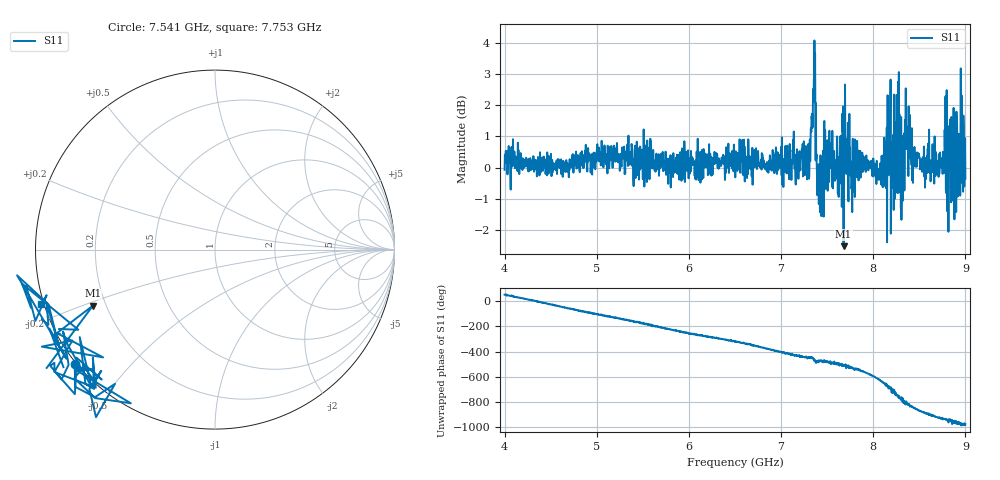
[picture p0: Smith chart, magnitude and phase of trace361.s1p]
! Created with skrf 1.8.0 (http://scikit-rf.org).
# Hz S RI R 50.0
!freq ReS11 ImS11
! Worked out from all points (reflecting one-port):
!   1601 points, 4 GHz to 9 GHz, reference 50 ohm
!   lowest |S11| = -2.5 dB at 7.678 GHz (marker M1), VSWR 6.95, Z = 7.53 - j10.7 ohm
!   phase of S11 starts at 52 deg and turns -1028 deg over the sweep
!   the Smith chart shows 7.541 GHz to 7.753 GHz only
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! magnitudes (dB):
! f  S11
! 4 GHz  -0.1
! 4.625 GHz  -0.2
! 5.25 GHz  -0.1
! 5.875 GHz  0.1
! 6.5 GHz  0.2
! 7.125 GHz  0.6
! 7.294 GHz  0.1
! 7.347 GHz  2.5
! 7.372 GHz  1.8
! 7.4 GHz  0.0
! 7.428 GHz  0.4
! 7.525 GHz  1.2
! 7.609 GHz  1.0
! 7.678 GHz  -2.5
! 7.75 GHz  -0.2
! 8.088 GHz  -0.5
! 8.162 GHz  0.6
! 8.216 GHz  0.7
! 8.262 GHz  -0.8
! 8.316 GHz  1.0
! 8.334 GHz  1.1
! 8.375 GHz  0.9
! 8.431 GHz  -0.5
! 8.556 GHz  -0.3
! 8.822 GHz  0.5
! 8.875 GHz  0.5
! 8.956 GHz  0.1
! 9 GHz  -0.3
